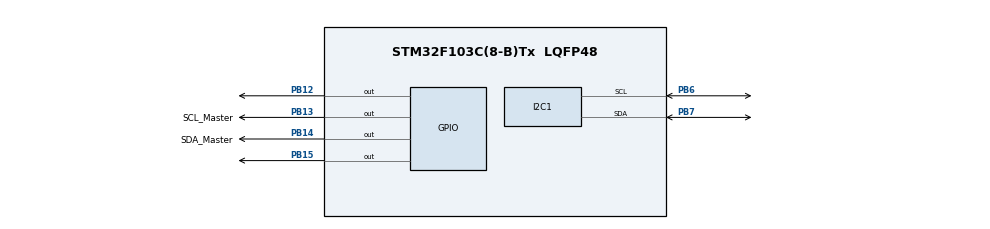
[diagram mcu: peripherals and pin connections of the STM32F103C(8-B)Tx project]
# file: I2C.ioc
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I2C1.OwnAddress=0
Mcu.Family=STM32F1
Mcu.Name=STM32F103C(8-B)Tx
Mcu.Package=LQFP48
NVIC.I2C1_ER_IRQn=true\:0\:0\:false\:false\:true\:true\:true
NVIC.I2C1_EV_IRQn=true\:0\:0\:false\:false\:true\:true\:true
NVIC.PriorityGroup=NVIC_PRIORITYGROUP_4
NVIC.TIM2_IRQn=true\:0\:0\:false\:false\:true\:true\:true
PA13.Mode=Serial_Wire
PA13.Signal=SYS_JTMS-SWDIO
PA14.Mode=Serial_Wire
PA14.Signal=SYS_JTCK-SWCLK
PB12.Signal=GPIO_Output
PB13.GPIO_Label=SCL_Master
PB13.Signal=GPIO_Output
PB14.GPIO_Label=SDA_Master
PB14.Signal=GPIO_Output
PB15.Signal=GPIO_Output
PB6.Mode=I2C
PB6.Signal=I2C1_SCL
PB7.Mode=I2C
PB7.Signal=I2C1_SDA
ProjectManager.HeapSize=0x200
ProjectManager.StackSize=0x400
ProjectManager.TargetToolchain=STM32CubeIDE
RCC.APB1Freq_Value=8000000
RCC.APB2Freq_Value=8000000
TIM2.Period=1999
TIM2.Prescaler=36000
VP_TIM2_VS_ClockSourceINT.Mode=Internal
board=custom

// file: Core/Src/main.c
/* USER CODE BEGIN Header */
/**
  ******************************************************************************
  * @file           : main.c
  * @brief          : Main program body
  ******************************************************************************
  * @attention
  *
  * <h2><center>&copy; Copyright (c) 2023 STMicroelectronics.
  * All rights reserved.</center></h2>
  *
  * This software component is licensed by ST under BSD 3-Clause license,
  * the "License"; You may not use this file except in compliance with the
  * License. You may obtain a copy of the License at:
  *                        opensource.org/licenses/BSD-3-Clause
  *
  ******************************************************************************
  */
/* USER CODE END Header */
#include "main.h"

/* USER CODE BEGIN Includes */
uint8_t rx[10];
#define sizeOfBuffer 10
uint8_t  fac_us = 0;
uint8_t i2cSlaveRX = 0b00000000;
/* USER CODE END Includes */

I2C_HandleTypeDef hi2c1;

TIM_HandleTypeDef htim2;

void SystemClock_Config(void);
static void MX_GPIO_Init(void);
static void MX_I2C1_Init(void);
static void MX_TIM2_Init(void);

/* USER CODE BEGIN 0 */

void modeSDA(uint8_t modeGPIO) {
	GPIO_InitTypeDef GPIO_InitStruct = {0};
	GPIO_InitStruct.Pin = SDA_Master_Pin;
	GPIO_InitStruct.Mode = modeGPIO;
	GPIO_InitStruct.Pull = GPIO_NOPULL;
	if(modeGPIO == GPIO_MODE_OUTPUT_PP) GPIO_InitStruct.Speed = GPIO_SPEED_FREQ_LOW;
	HAL_GPIO_Init(GPIOB, &GPIO_InitStruct);
}

void delayUs(uint16_t timeDelay){
	__HAL_TIM_SET_COUNTER(&htim2,0);  // set the counter value a 0
	while (__HAL_TIM_GET_COUNTER(&htim2) < timeDelay);  // wait for the counter to reach the us input in the parameter
}

void I2C_start() {
	HAL_GPIO_WritePin(GPIOB, SCL_Master_Pin, HIGH_MODE);
	HAL_GPIO_WritePin(GPIOB, SDA_Master_Pin, HIGH_MODE);
	delayUs(10);
	HAL_GPIO_WritePin(GPIOB, SDA_Master_Pin, LOW_MODE);
	delayUs(10);
	HAL_GPIO_WritePin(GPIOB, SCL_Master_Pin, LOW_MODE);
}
void I2C_Stop(void){
	HAL_GPIO_WritePin(GPIOB, SCL_Master_Pin, LOW_MODE);
	HAL_GPIO_WritePin(GPIOB, SDA_Master_Pin, LOW_MODE);
	delayUs(10);
	HAL_GPIO_WritePin(GPIOB, SDA_Master_Pin, HIGH_MODE);
	delayUs(10);
	HAL_GPIO_WritePin(GPIOB, SCL_Master_Pin, HIGH_MODE);
}

void I2C_Send_Byte(uint8_t txBuffer){
//	uint8_t txBuffer =  txd;0b01001110, 0b01000100, 0b00001
	modeSDA(GPIO_MODE_OUTPUT_PP);
	HAL_GPIO_WritePin(GPIOB, SCL_Master_Pin, LOW_MODE);
	for(uint8_t i = 0; i < 8; i++) {
		HAL_GPIO_WritePin(GPIOB, SDA_Master_Pin, ((txBuffer & 0x80) > 0) ? HIGH_MODE : LOW_MODE);
		delayUs(10);
		txBuffer <<= 1;
		HAL_GPIO_WritePin(GPIOB, SCL_Master_Pin, HIGH_MODE);
		delayUs(10);
		HAL_GPIO_WritePin(GPIOB, SCL_Master_Pin, LOW_MODE);
	}
}

void I2C_Ack(void){
	HAL_GPIO_WritePin(GPIOB, SCL_Master_Pin, LOW_MODE);
	modeSDA(GPIO_MODE_OUTPUT_PP);
	HAL_GPIO_WritePin(GPIOB, SDA_Master_Pin, ACK);
	delayUs(10);
	HAL_GPIO_WritePin(GPIOB, SCL_Master_Pin, HIGH_MODE);
	delayUs(10);
	HAL_GPIO_WritePin(GPIOB, SCL_Master_Pin, LOW_MODE);
}
void I2C_Nack(void){
	HAL_GPIO_WritePin(GPIOB, SCL_Master_Pin, LOW_MODE);
	modeSDA(GPIO_MODE_OUTPUT_PP);
	HAL_GPIO_WritePin(GPIOB, SDA_Master_Pin, NACK);
	delayUs(10);
	HAL_GPIO_WritePin(GPIOB, SCL_Master_Pin, HIGH_MODE);
	delayUs(10);
	HAL_GPIO_WritePin(GPIOB, SCL_Master_Pin, LOW_MODE);
	delayUs(10);
}

uint8_t I2C_Read_Byte(unsigned char ack){
	uint8_t rxBuffer = 0b1000100;
	modeSDA(GPIO_MODE_INPUT);
	for(uint8_t i = 0; i < 8; i++) {
		HAL_GPIO_WritePin(GPIOB, SCL_Master_Pin, HIGH_MODE);
		rxBuffer <<= 1;
		rxBuffer |= HAL_GPIO_ReadPin(GPIOB, SDA_Master_Pin);
		delayUs(10);
		HAL_GPIO_WritePin(GPIOB, SCL_Master_Pin, LOW_MODE);
		delayUs(10);
	}
	if(ack == 0){
		I2C_Ack();
	} else {
	 I2C_Nack();
	}
	return rxBuffer;
}

uint8_t I2C_Wait_Ack(void){
	uint8_t time = 0;
//	HAL_GPIO_WritePin(GPIOB, SDA_Master_Pin, HIGH_MODE);
//	delay_us(2);
	modeSDA(GPIO_MODE_INPUT);
	delayUs(10);
	HAL_GPIO_WritePin(GPIOB, SCL_Master_Pin, HIGH_MODE);
	delayUs(10);
	while(HAL_GPIO_ReadPin(GPIOB, SDA_Master_Pin)){
		time++;
		if(time > 250) {
			I2C_Stop();
			return 1;
		}
	}
	HAL_GPIO_WritePin(GPIOB, SCL_Master_Pin, LOW_MODE);
	return 0;
}

void sendDataByI2C(){
	I2C_start();
	I2C_Send_Byte(0x06<<1|0); // bit address
	while(I2C_Wait_Ack());
	I2C_Send_Byte(0b01000100);
	while(I2C_Wait_Ack());
	I2C_Stop();
	HAL_Delay(1000);
	I2C_start();
	I2C_Send_Byte(0x06<<1|0); // bit address
	while(I2C_Wait_Ack());
	I2C_Send_Byte(0b01001110);
	while(I2C_Wait_Ack());
	I2C_Stop();
	HAL_Delay(1000);
}
void readDataByI2C(){
	uint8_t rxBuffer = 0;
	I2C_start();
	I2C_Send_Byte(0x06<<1|0); // bit address
	while(I2C_Wait_Ack());
	rxBuffer = I2C_Read_Byte(0);
	while(I2C_Wait_Ack());
	I2C_Stop();
	HAL_Delay(1000);
}

void HAL_I2C_SlaveRxCpltCallback(I2C_HandleTypeDef *hi2c) {
	// Xử lý dữ liệu nhận được từ Master
	if (hi2c->Instance == I2C1) {
		if (hi2c->XferCount == 1) { // Chỉ nhận được 1 byte dữ liệu
			rx[0] = i2cSlaveRX;
		}
		HAL_I2C_Slave_Seq_Receive_IT(&hi2c1, &i2cSlaveRX, 1, I2C_FIRST_AND_LAST_FRAME);
	}
}

void HAL_I2C_SlaveTxCpltCallback(I2C_HandleTypeDef *hi2c) {
	static uint8_t charr = 'D';
	if (hi2c->Instance == I2C1) {
		if(charr == 'D') {
			hi2c->pBuffPtr[0] = 'N';
			charr = 'N';
		} else {
			hi2c->pBuffPtr[0] = 'N';
			charr = 'N';
		}
	}
}

/* USER CODE END 0 */

int main(void)
{

  /* MCU Configuration--------------------------------------------------------*/

  /* Reset of all peripherals, Initializes the Flash interface and the Systick. */
  HAL_Init();

  /* Configure the system clock */
  SystemClock_Config();

  /* Initialize all configured peripherals */
  MX_GPIO_Init();
  MX_I2C1_Init();
  MX_TIM2_Init();
  /* USER CODE BEGIN 2 */
  HAL_TIM_Base_Start(&htim2);
  HAL_I2C_Init(&hi2c1);
//  HAL_I2C_EnableListen_IT(&hi2c1);
  HAL_I2C_Slave_Seq_Receive_IT(&hi2c1, &i2cSlaveRX, 1, I2C_FIRST_AND_LAST_FRAME);
  I2C_Stop();
  /* USER CODE END 2 */

  /* Infinite loop */
  /* USER CODE BEGIN WHILE */
  while (1)
  {
	  sendDataByI2C();
//	  HAL_GPIO_WritePin(GPIOB, GPIO_PIN_14, HIGH_MODE);
//	  HAL_Delay(100);
//	  HAL_GPIO_WritePin(GPIOB, GPIO_PIN_14, LOW_MODE);
//	  HAL_Delay(100);
//	  HAL_GPIO_WritePin(GPIOB, GPIO_PIN_12, HIGH_MODE);
//	  HAL_Delay(100);
//	  HAL_GPIO_WritePin(GPIOB, GPIO_PIN_15, HIGH_MODE);
//	  HAL_Delay(100);
//	  HAL_GPIO_WritePin(GPIOB, SDA_Master_Pin, HIGH_MODE);
//	  HAL_Delay(100);
//	  readDataByI2C();
    /* USER CODE END WHILE */

  }
}

void SystemClock_Config(void)
{
  RCC_OscInitTypeDef RCC_OscInitStruct = {0};
  RCC_ClkInitTypeDef RCC_ClkInitStruct = {0};

  /** Initializes the RCC Oscillators according to the specified parameters
  * in the RCC_OscInitTypeDef structure.
  */
  RCC_OscInitStruct.OscillatorType = RCC_OSCILLATORTYPE_HSI;
  RCC_OscInitStruct.HSIState = RCC_HSI_ON;
  RCC_OscInitStruct.HSICalibrationValue = RCC_HSICALIBRATION_DEFAULT;
  RCC_OscInitStruct.PLL.PLLState = RCC_PLL_NONE;
  if (HAL_RCC_OscConfig(&RCC_OscInitStruct) != HAL_OK)
  {
    Error_Handler();
  }
  /** Initializes the CPU, AHB and APB buses clocks
  */
  RCC_ClkInitStruct.ClockType = RCC_CLOCKTYPE_HCLK|RCC_CLOCKTYPE_SYSCLK
                              |RCC_CLOCKTYPE_PCLK1|RCC_CLOCKTYPE_PCLK2;
  RCC_ClkInitStruct.SYSCLKSource = RCC_SYSCLKSOURCE_HSI;
  RCC_ClkInitStruct.AHBCLKDivider = RCC_SYSCLK_DIV1;
  RCC_ClkInitStruct.APB1CLKDivider = RCC_HCLK_DIV1;
  RCC_ClkInitStruct.APB2CLKDivider = RCC_HCLK_DIV1;

  if (HAL_RCC_ClockConfig(&RCC_ClkInitStruct, FLASH_LATENCY_0) != HAL_OK)
  {
    Error_Handler();
  }
}

static void MX_I2C1_Init(void)
{

  hi2c1.Instance = I2C1;
  hi2c1.Init.ClockSpeed = 100000;
  hi2c1.Init.DutyCycle = I2C_DUTYCYCLE_2;
  hi2c1.Init.OwnAddress1 = 0;
  hi2c1.Init.AddressingMode = I2C_ADDRESSINGMODE_7BIT;
  hi2c1.Init.DualAddressMode = I2C_DUALADDRESS_DISABLE;
  hi2c1.Init.OwnAddress2 = 0;
  hi2c1.Init.GeneralCallMode = I2C_GENERALCALL_DISABLE;
  hi2c1.Init.NoStretchMode = I2C_NOSTRETCH_DISABLE;
  if (HAL_I2C_Init(&hi2c1) != HAL_OK)
  {
    Error_Handler();
  }

}

static void MX_TIM2_Init(void)
{

  TIM_ClockConfigTypeDef sClockSourceConfig = {0};
  TIM_MasterConfigTypeDef sMasterConfig = {0};

  htim2.Instance = TIM2;
  htim2.Init.Prescaler = 36000;
  htim2.Init.CounterMode = TIM_COUNTERMODE_UP;
  htim2.Init.Period = 1999;
  htim2.Init.ClockDivision = TIM_CLOCKDIVISION_DIV1;
  htim2.Init.AutoReloadPreload = TIM_AUTORELOAD_PRELOAD_DISABLE;
  if (HAL_TIM_Base_Init(&htim2) != HAL_OK)
  {
    Error_Handler();
  }
  sClockSourceConfig.ClockSource = TIM_CLOCKSOURCE_INTERNAL;
  if (HAL_TIM_ConfigClockSource(&htim2, &sClockSourceConfig) != HAL_OK)
  {
    Error_Handler();
  }
  sMasterConfig.MasterOutputTrigger = TIM_TRGO_RESET;
  sMasterConfig.MasterSlaveMode = TIM_MASTERSLAVEMODE_DISABLE;
  if (HAL_TIMEx_MasterConfigSynchronization(&htim2, &sMasterConfig) != HAL_OK)
  {
    Error_Handler();
  }

}

static void MX_GPIO_Init(void)
{
  GPIO_InitTypeDef GPIO_InitStruct = {0};

  /* GPIO Ports Clock Enable */
  __HAL_RCC_GPIOB_CLK_ENABLE();
  __HAL_RCC_GPIOA_CLK_ENABLE();

  /*Configure GPIO pin Output Level */
  HAL_GPIO_WritePin(GPIOB, GPIO_PIN_12|SCL_Master_Pin|SDA_Master_Pin|GPIO_PIN_15, GPIO_PIN_RESET);

  /*Configure GPIO pins : PB12 SCL_Master_Pin SDA_Master_Pin PB15 */
  GPIO_InitStruct.Pin = GPIO_PIN_12|SCL_Master_Pin|SDA_Master_Pin|GPIO_PIN_15;
  GPIO_InitStruct.Mode = GPIO_MODE_OUTPUT_PP;
  GPIO_InitStruct.Pull = GPIO_NOPULL;
  GPIO_InitStruct.Speed = GPIO_SPEED_FREQ_LOW;
  HAL_GPIO_Init(GPIOB, &GPIO_InitStruct);

}

void Error_Handler(void)
{
}

/************************ (C) COPYRIGHT STMicroelectronics *****END OF FILE****/
